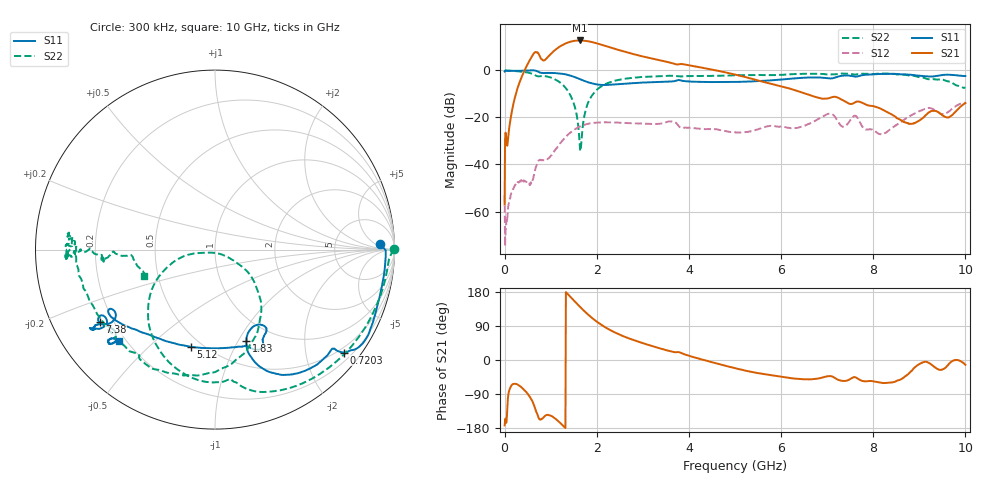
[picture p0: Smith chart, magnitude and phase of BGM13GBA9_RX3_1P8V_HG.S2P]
!Agilent Technologies,E5071C,MY46316587,B.13.01
!Date: Wed Dec 06 10:56:05 2017
!Data & Calibration Information:
!Freq	S11:SOLT2(ON)	S21:SOLT2(ON)	S12:SOLT2(ON)	S22:SOLT2(ON)
!PortZ  Port1:50+j0  Port2:50+j0
!Above PortZ is port z conversion or system Z0 setting when saving the data.
!When reading, reference impedance value at option line is always used.
# Hz S RI R 50
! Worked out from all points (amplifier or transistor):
!   1001 points, 300 kHz to 10 GHz, reference 50 ohm
!   highest |S21| = 12.4 dB at 1.63 GHz (marker M1)
!   |S21| within 3 dB of that: 1.166 GHz to 2.303 GHz (1.137 GHz wide, 65.5 % of centre)
!   unconditionally stable (mu >= 1): start of sweep to end of sweep
!   at 1.66 GHz: K = 1.25, MAG = 15.1 dB, |S12| = -23.7 dB
!   at 5 GHz: K = 3.86, MAG = 3.4 dB, |S12| = -26.5 dB
!   at 10 GHz: K = 4.54, MAG = -9.6 dB, |S12| = -13.9 dB
!   lowest NFmin = 0.62 dB at 1.45 GHz
!   S11 on the Smith chart (normalised r, x): 300 kHz: 20, +8; 720.3 MHz: 0.37, -2.82; 1.83 GHz: 0.76, -1.08; 5.12 GHz: 0.43, -0.68; 7.38 GHz: 0.15, -0.28; 10 GHz: 0.17, -0.39
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300000  0.917 0.0302  -0.00142 -0.000183  0.000964 -0.00203  0.9945 0.00129
6.02982e7  0.9507 -0.0447  -0.0136 -0.021  -0.000163 0.000759  0.9549 -0.1366
1.702949e8  0.943 -0.1297  0.0664 -0.1379  0.000449 0.00284  0.8809 -0.3522
4.702859e8  0.8936 -0.3558  0.109 -1.15  0.000798 0.00419  0.4721 -0.7514
6.202814e8  0.8399 -0.4993  -0.8515 -1.944  -0.00304 0.00388  0.2004 -0.7838
7.202784e8  0.7201 -0.5736  -1.94 -1.266  -0.00671 0.00876  0.0909 -0.7235
8.00276e8  0.6645 -0.551  -1.524 -0.7082  -0.00435 0.0115  0.027 -0.7396
9.102727e8  0.6386 -0.5724  -1.425 -0.9943  -0.0056 0.0113  -0.1243 -0.7157
1.180265e9  0.4983 -0.6762  -2.887 -0.8821  -0.0162 0.0197  -0.3672 -0.4235
1.420257e9  0.3201 -0.6866  -3.814 0.8264  -0.0202 0.0419  -0.2778 -0.1096
1.630251e9  0.205 -0.604  -3.242 2.623  -0.00865 0.0629  -0.0208 -0.0169
1.67025e9  0.1917 -0.5853  -3.002 2.888  -0.00477 0.0656  0.0258 -0.0235
1.830245e9  0.1751 -0.5085  -1.862 3.518  0.0109 0.0722  0.1825 -0.1248
2.110237e9  0.2092 -0.4319  -0.1156 3.374  0.0345 0.0695  0.2538 -0.3738
2.400228e9  0.2552 -0.4187  0.8384 2.63  0.048 0.0599  0.1737 -0.5661
3.3402e9  0.2759 -0.476  1.372 0.8492  0.0599 0.0401  -0.246 -0.6884
5.00015e9  -0.0937 -0.5461  0.7399 -0.292  0.0417 0.0228  -0.7371 -0.1887
5.120146e9  -0.1362 -0.5416  0.6739 -0.3139  0.0398 0.0257  -0.7573 -0.146
6.6701e9  -0.5833 -0.37  0.178 -0.2181  0.0469 0.0604  -0.8223 0.0883
7.380079e9  -0.6421 -0.4041  0.1229 -0.1779  0.0555 0.0312  -0.8288 0.029
8.34005e9  -0.6928 -0.4415  0.0618 -0.1057  0.027 0.0454  -0.8236 -0.0432
1e10  -0.5365 -0.51  0.1933 -0.0434  0.1968 0.0428  -0.3961 -0.1476
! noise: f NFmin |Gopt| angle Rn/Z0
1.1e+09  0.7115  0.5526  38.23  0.2547
1.15e+09  0.7057  0.56  38.87  0.2487
1.2e+09  0.6801  0.5688  40.88  0.2376
1.3e+09  0.6707  0.5732  40.62  0.2354
1.35e+09  0.6403  0.5606  41.66  0.2273
1.4e+09  0.6306  0.5712  41.62  0.229
1.5e+09  0.6293  0.537  43.52  0.2195
1.55e+09  0.6305  0.5234  44.01  0.2207
1.6e+09  0.6407  0.5148  45.47  0.2163
1.7e+09  0.6834  0.4817  47.63  0.2152
